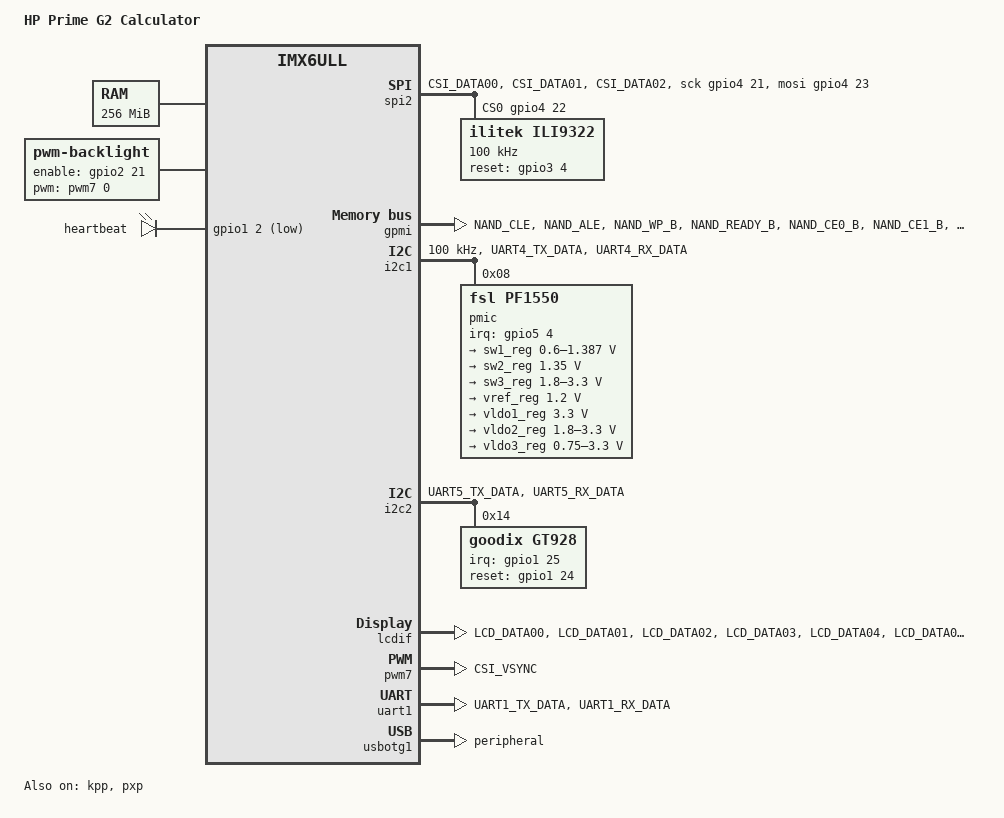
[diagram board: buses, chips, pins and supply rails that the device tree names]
/*
 * Copyright (C) 2016 Freescale Semiconductor, Inc.
 *
 * This program is free software; you can redistribute it and/or modify
 * it under the terms of the GNU General Public License version 2 as
 * published by the Free Software Foundation.
 */

/dts-v1/;

#include <dt-bindings/input/input.h>
#include "imx6ull.dtsi"

/ {
	model = "HP Prime G2 Calculator";
	compatible = "fsl,imx6ull-14x14-prime", "fsl,imx6ull";

	chosen {
		stdout-path = &uart1;
	};

	memory {
		reg = <0x80000000 0x10000000>;
	};

	reserved-memory {
		#address-cells = <1>;
		#size-cells = <1>;
		ranges;

		linux,cma {
			compatible = "shared-dma-pool";
			reusable;
			size = <0x14000000>;
			linux,cma-default;
		};
	};

	backlight {
		compatible = "pwm-backlight";
		pwms = <&pwm7 0 5000000>;
		enable-gpios = <&gpio2 21 0>;
		brightness-levels = <0 4 8 16 32 64 128 255>;
		default-brightness-level = <6>;
		status = "okay";
	};

	pxp_v4l2 {
		compatible = "fsl,imx6ul-pxp-v4l2", "fsl,imx6sx-pxp-v4l2", "fsl,imx6sl-pxp-v4l2";
		status = "okay";
	};

	regulators {
		compatible = "simple-bus";
		#address-cells = <1>;
		#size-cells = <0>;
	};

	leds {
		compatible = "gpio-leds";
		pinctrl-names = "default";
		pinctrl-0 = <&pinctrl_leds>;

		heartbeat {
			label = "heartbeat";
			gpios = <&gpio1 2 GPIO_ACTIVE_LOW>;
			linux,default-trigger = "heartbeat";
		};
	};

	spi2 {
		compatible = "spi-gpio";
		pinctrl-names = "default";
		pinctrl-0 = <&pinctrl_spi2>;
		status = "okay";
		gpio-sck = <&gpio4 21 0>;
		gpio-mosi = <&gpio4 23 0>;
		cs-gpios = <&gpio4 22 0>;
		num-chipselects = <1>;
		#address-cells = <1>;
		#size-cells = <0>;

		ili9322: ili9322@0 {
			compatible = "ilitek,ili9322";
			reg = <0>;
			spi-max-frequency = <100000>;
			spi-cpol;
			spi-cpha;
			gpios-reset = <&gpio3 4 0>;
		};
	};
};

&cpu0 {
	operating-points = <
		/* kHz	uV */
		900000	1275000
		792000	1225000
		696000  1225000
		528000	1175000
		396000	1175000
		198000	1175000
	>;
	fsl,soc-operating-points = <
		/* KHz	uV */
		900000	1275000
		792000	1225000
		696000  1225000
		528000	1175000
		396000	1175000
		198000	1175000
	>;
	fsl,arm-soc-shared = <1>;
};

&reg_arm {
	vin-supply = <&sw1_reg>;
	regulator-allow-bypass;
};

&reg_soc {
	vin-supply = <&sw1_reg>;
	regulator-allow-bypass;
};

&gpc {
	fsl,cpu_pupscr_sw2iso = <0xf>;
	fsl,cpu_pupscr_sw = <0x0>;
	fsl,cpu_pdnscr_iso2sw = <0x1>;
	fsl,cpu_pdnscr_iso = <0x1>;
	fsl,ldo-bypass = <1>; /* use ldo-bypass */
};

&gpmi {
	pinctrl-names = "default";
	pinctrl-0 = <&pinctrl_gpmi_nand_1>;
	status = "okay";
};

&i2c1 {
	clock-frequency = <100000>;
	pinctrl-names = "default";
	pinctrl-0 = <&pinctrl_i2c1>;
	status = "okay";
	pmic: pf1550@08 {
		compatible = "fsl,pf1550";
		interrupt-parent = <&gpio5>;
		interrupts = <4 8>;
		reg = <0x08>;

		onkey {
			compatible = "fsl,pf1550-onkey";
			linux,keycode = <KEY_POWER>;
			wakeup;
		};

		charger {
			compatible = "fsl,pf1550-charger";
		};

		regulators {
			compatible = "fsl,pf1550-regulator";

			sw1_reg: SW1 {
				regulator-name = "SW1";
				regulator-min-microvolt = <600000>;
				regulator-max-microvolt = <1387500>;
				regulator-boot-on;
				regulator-always-on;
				regulator-ramp-delay = <6250>;
			};

			sw2_reg: SW2 {
				regulator-name = "SW2";
				regulator-min-microvolt = <1350000>;
				regulator-max-microvolt = <1350000>;
				regulator-boot-on;
				regulator-always-on;
			};

			sw3_reg: SW3 {
				regulator-name = "SW3";
				regulator-min-microvolt = <1800000>;
				regulator-max-microvolt = <3300000>;
				regulator-boot-on;
				regulator-always-on;
			};

			vref_reg: VREFDDR {
				regulator-name = "VREFDDR";
				regulator-min-microvolt = <1200000>;
				regulator-max-microvolt = <1200000>;
				regulator-boot-on;
				regulator-always-on;
			};

			vldo1_reg: LDO1 {
				regulator-name = "LDO1";
				regulator-min-microvolt = <3300000>;
				regulator-max-microvolt = <3300000>;
				regulator-boot-on;
				regulator-always-on;
			};

			vldo2_reg: LDO2 {
				regulator-name = "LDO2";
				regulator-min-microvolt = <1800000>;
				regulator-max-microvolt = <3300000>;
				regulator-boot-on;
				regulator-always-on;
			};

			vldo3_reg: LDO3 {
				regulator-name = "LDO3";
				regulator-min-microvolt = <750000>;
				regulator-max-microvolt = <3300000>;
				regulator-boot-on;
				regulator-always-on;
			};
		};
	};
};

&i2c2 {
	clock_frequency = <100000>;
	pinctrl-names = "default";
	pinctrl-0 = <&pinctrl_i2c2>;
	status = "okay";

	gt928@14 {
		compatible = "goodix,gt928";
		reg = <0x14>;
		interrupt-parent = <&gpio1>;
		interrupts = <25 IRQ_TYPE_EDGE_FALLING>;

		irq-gpios = <&gpio1 25 0>;
		reset-gpios = <&gpio1 24 0>;
	};
};

&iomuxc {
	pinctrl-names = "default";
	pinctrl-0 = <&pinctrl_hog_1>;
	pinctrl_hog_1: hoggrp-1 {
		fsl,pins = <
			MX6UL_PAD_LCD_RESET__GPIO3_IO04 0x17059
			MX6UL_PAD_SD1_DATA3__GPIO2_IO21 0x17059 /* LCD BL BAT EN */
			MX6UL_PAD_UART3_TX_DATA__GPIO1_IO24 0x17059 /* RST */
			MX6UL_PAD_UART3_RX_DATA__GPIO1_IO25 0x1b0b0 /* IRQ */
		>;
	};

	pinctrl_gpmi_nand_1: gpmi-nand-1 {
		fsl,pins = <
			MX6UL_PAD_NAND_CLE__RAWNAND_CLE         0xb0b1
			MX6UL_PAD_NAND_ALE__RAWNAND_ALE         0xb0b1
			MX6UL_PAD_NAND_WP_B__RAWNAND_WP_B       0xb0b1
			MX6UL_PAD_NAND_READY_B__RAWNAND_READY_B 0xb000
			MX6UL_PAD_NAND_CE0_B__RAWNAND_CE0_B     0xb0b1
			MX6UL_PAD_NAND_CE1_B__RAWNAND_CE1_B     0xb0b1
			MX6UL_PAD_NAND_RE_B__RAWNAND_RE_B       0xb0b1
			MX6UL_PAD_NAND_WE_B__RAWNAND_WE_B       0xb0b1
			MX6UL_PAD_NAND_DATA00__RAWNAND_DATA00   0xb0b1
			MX6UL_PAD_NAND_DATA01__RAWNAND_DATA01   0xb0b1
			MX6UL_PAD_NAND_DATA02__RAWNAND_DATA02   0xb0b1
			MX6UL_PAD_NAND_DATA03__RAWNAND_DATA03   0xb0b1
			MX6UL_PAD_NAND_DATA04__RAWNAND_DATA04   0xb0b1
			MX6UL_PAD_NAND_DATA05__RAWNAND_DATA05   0xb0b1
			MX6UL_PAD_NAND_DATA06__RAWNAND_DATA06   0xb0b1
			MX6UL_PAD_NAND_DATA07__RAWNAND_DATA07   0xb0b1
		>;
	};

	pinctrl_leds: ledsgrp {
		fsl,pins = <
			MX6UL_PAD_GPIO1_IO02__GPIO1_IO02 0x17059
		>;
	};

	pinctrl_i2c1: i2c1grp {
		fsl,pins = <
			MX6UL_PAD_UART4_TX_DATA__I2C1_SCL 0x4001b8b0
			MX6UL_PAD_UART4_RX_DATA__I2C1_SDA 0x4001b8b0
		>;
	};

	pinctrl_i2c2: i2c2grp {
		fsl,pins = <
			MX6UL_PAD_UART5_TX_DATA__I2C2_SCL 0x4001b8b0
			MX6UL_PAD_UART5_RX_DATA__I2C2_SDA 0x4001b8b0
		>;
	};

	pinctrl_kpp_1: kpp1grp {
		fsl,pins = <
			MX6UL_PAD_ENET1_RX_EN__KPP_ROW01	0x1b010
			MX6UL_PAD_ENET1_TX_DATA1__KPP_ROW02	0x1b010
			MX6UL_PAD_ENET1_TX_CLK__KPP_ROW03	0x1b010
			MX6UL_PAD_ENET2_RX_DATA0__KPP_ROW04	0x1b010	
			MX6UL_PAD_ENET2_RX_EN__KPP_ROW05	0x1b010
			MX6UL_PAD_ENET2_TX_DATA1__KPP_ROW06	0x1b010
			MX6UL_PAD_ENET2_TX_CLK__KPP_ROW07	0x1b010
			MX6UL_PAD_ENET1_RX_DATA1__KPP_COL00	0x110b0
			MX6UL_PAD_ENET1_TX_DATA0__KPP_COL01	0x110b0
			MX6UL_PAD_ENET1_TX_EN__KPP_COL02	0x110b0
			MX6UL_PAD_ENET1_RX_ER__KPP_COL03	0x110b0
			MX6UL_PAD_ENET2_RX_DATA1__KPP_COL04	0x110b0
			MX6UL_PAD_ENET2_TX_DATA0__KPP_COL05	0x110b0
			MX6UL_PAD_ENET2_TX_EN__KPP_COL06	0x110b0
			MX6UL_PAD_ENET2_RX_ER__KPP_COL07	0x110b0
		>;
	};

	pinctrl_lcdif_dat: lcdifdatgrp {
		fsl,pins = <
			MX6UL_PAD_LCD_DATA00__LCDIF_DATA00  0x79
			MX6UL_PAD_LCD_DATA01__LCDIF_DATA01  0x79
			MX6UL_PAD_LCD_DATA02__LCDIF_DATA02  0x79
			MX6UL_PAD_LCD_DATA03__LCDIF_DATA03  0x79
			MX6UL_PAD_LCD_DATA04__LCDIF_DATA04  0x79
			MX6UL_PAD_LCD_DATA05__LCDIF_DATA05  0x79
			MX6UL_PAD_LCD_DATA06__LCDIF_DATA06  0x79
			MX6UL_PAD_LCD_DATA07__LCDIF_DATA07  0x79
		>;
	};

	pinctrl_lcdif_ctrl: lcdifctrlgrp {
		fsl,pins = <
			MX6UL_PAD_LCD_CLK__LCDIF_CLK	    0x79
			MX6UL_PAD_LCD_ENABLE__LCDIF_ENABLE  0x79
			MX6UL_PAD_LCD_HSYNC__LCDIF_HSYNC    0x79
			MX6UL_PAD_LCD_VSYNC__LCDIF_VSYNC    0x79
		>;
	};

	pinctrl_pf1550: pf1550 {
		fsl,pins = <
			 MX6UL_PAD_SNVS_TAMPER4__GPIO5_IO04      0x80000000
		>;
	};

	pinctrl_pwm7: pwm7grp {
		fsl,pins = <
			MX6UL_PAD_CSI_VSYNC__PWM7_OUT   0x110b0
		>;
	};

	pinctrl_uart1: uart1grp {
		fsl,pins = <
			MX6UL_PAD_UART1_TX_DATA__UART1_DCE_TX 0x1b0b1
			MX6UL_PAD_UART1_RX_DATA__UART1_DCE_RX 0x1b0b1
		>;
	};

	pinctrl_spi2: spi2grp {
		fsl,pins = <
			MX6UL_PAD_CSI_DATA00__GPIO4_IO21	0x70a1
			MX6UL_PAD_CSI_DATA01__GPIO4_IO22	0x70a1
			MX6UL_PAD_CSI_DATA02__GPIO4_IO23	0x70a1
		>;
	};

	pinctrl_usb_otg1_id: usbotg1idgrp {
		fsl,pins = <
			MX6UL_PAD_GPIO1_IO00__ANATOP_OTG1_ID	0x17059
		>;
	};
};

&kpp {
	pinctrl-names = "default";
	pinctrl-0 = <&pinctrl_kpp_1>;
	linux,keymap = <
		0x01000019 /* P */
		0x01010028 /* " */
		0x01020014 /* T */
		0x0103002d /* X */
		0x01040033 /* : */
		0x01050027 /* ; */
		0x01060039 /* Space */
		0x01070069 /* Left */
		0x0200000e /* Bksp */
		0x02010020 /* D */
		0x0202002e /* C */
		0x02030038 /* Alt (Alpha) */
		0x02040012 /* E */
		0x0205001e /* A */
		0x02060022 /* G */
		0x02070030 /* B */
		0x03000032 /* M */
		0x03010026 /* L */
		0x03020025 /* K */
		0x03030024 /* J */
		0x03040017 /* I */
		0x03050023 /* H */
		0x0306002a /* Shift */
		0x03070021 /* F */
		0x0400003d /* F3 (Num) */
		0x0401003c /* F2 (Plot) */
		0x0402003b /* F1 (Symb) */
		0x0403007d /* Meta (Home) */
		0x0404008b /* Menu (Apps) */
		0x0405006c /* Down */
		0x04060001 /* Esc */
		0x04070031 /* N */
		0x0500001f /* S */
		0x0501001d /* Ctrl (CAS) */
		0x05020040 /* F6 (Menu) */
		0x0503003f /* F5 (View) */
		0x05040067 /* Up */
		0x05050015 /* Y */
		0x05060034 /* . */
		0x0507003e /* F4 (Help) */
		0x06000018 /* O */
		0x06010013 /* R */
		0x06020010 /* Q */
		0x06030011 /* W */
		0x0604002f /* V */
		0x06050016 /* U */
		0x06060035 /* / (#) */
		0x0607002c /* Z */
		0x0700001c /* Enter */
		0x0701006a /* Right */
	>;
	keypad,num-rows = <8>;
	keypad,num-columns = <8>;
	status = "okay";
};

&lcdif {
	pinctrl-names = "default";
	pinctrl-0 = <&pinctrl_lcdif_dat
		     &pinctrl_lcdif_ctrl>;
	lcd-supply = <&vldo1_reg>;
	display = <&display0>;
	status = "okay";

	display0: display@0 {
		bits-per-pixel = <32>;
		bus-width = <8>;

		display-timings {
			native-mode = <&timing0>;
			timing0: timing0 {
				clock-frequency = <18000000>;
				hactive = <320>;
				vactive = <240>;
				hfront-porch = <100>;
				hback-porch = <71>;
				hsync-len = <1>;
				vback-porch = <17>;
				vfront-porch = <6>;
				vsync-len = <1>;

				hsync-active = <0>;
				vsync-active = <0>;
				de-active = <1>;
				pixelclk-active = <1>;
			};
		};
	};
};

&pwm7 {
	pinctrl-names = "default";
	pinctrl-0 = <&pinctrl_pwm7>;
	status = "okay";
};

&pxp {
	status = "okay";
};

&uart1 {
	pinctrl-names = "default";
	pinctrl-0 = <&pinctrl_uart1>;
	status = "okay";
};

&usbotg1 {
	//pinctrl-names = "default";
	//pinctrl-0 = <&pinctrl_usb_otg1_id>;
	dr_mode = "peripheral";
	srp-disable;
	hnp-disable;
	adp-disable;
	status = "okay";
};

&usbphy1 {
	fsl,tx-d-cal = <106>;
};
